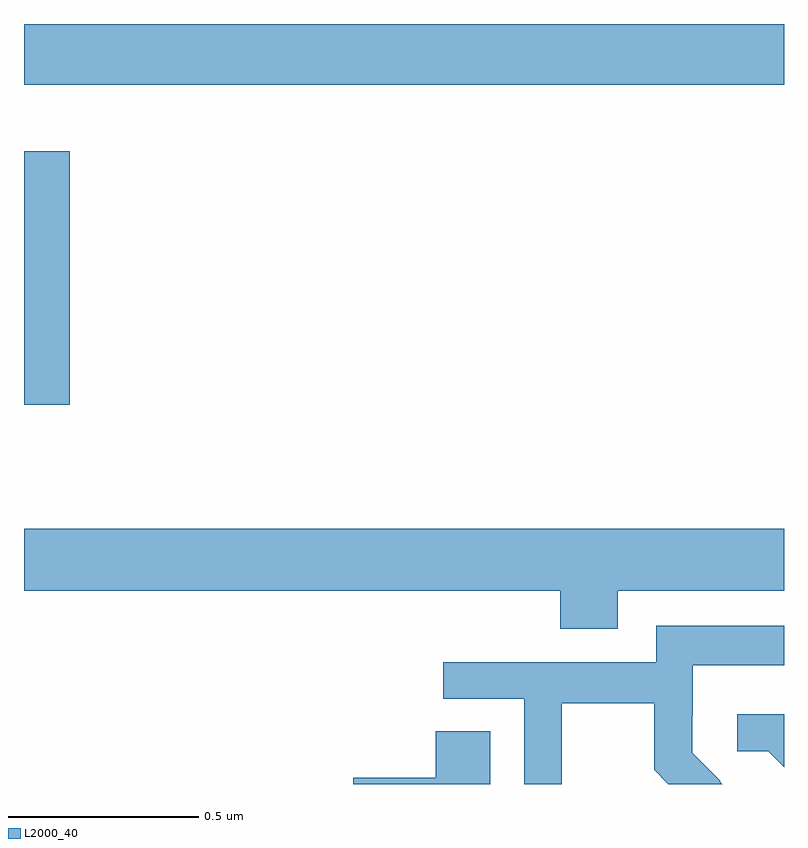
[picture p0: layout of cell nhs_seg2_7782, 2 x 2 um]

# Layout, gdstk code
import gdstk
lib = gdstk.Library(unit=1e-6, precision=1e-09)
def R(c, l, rs):  # rectangles x0, y0, x1, y1
    for r in rs: c.add(gdstk.rectangle(r[:2], r[2:], *l))
def P(c, l, *ps):  # polygons
    for p in ps: c.add(gdstk.Polygon(p, *l))
L2000_40 = (2000, 40)

nhs_seg2_7782 = lib.new_cell('nhs_seg2_7782')
R(nhs_seg2_7782, L2000_40, [(208,642.798,208.121,643.465), (208,643.64,210,643.8)])
P(nhs_seg2_7782, L2000_40, [(209.563,642.308),(210,642.308),(210,642.472),(208,642.472),(208,642.308),(209.411,642.308),(209.411,642.209),(209.563,642.209)],
  [(209.415,642.012),(209.659,642.012),(209.659,641.837),(209.696,641.8),(209.838,641.8),(209.831,641.807),(209.832,641.808),(209.758,641.882),(209.758,641.979),(209.76,641.979),(209.76,642.113),(210,642.113),(210,642.217),(209.664,642.217),(209.664,642.12),(209.103,642.12),(209.103,642.024),(209.316,642.024),(209.316,641.8),(209.415,641.8)],
  [(210,641.983),(209.877,641.983),(209.877,641.886),(209.958,641.886),(210,641.844)],
  [(209.227,641.939),(209.084,641.939),(209.084,641.816),(208.866,641.816),(208.866,641.8),(209.227,641.8)])

lib.write_gds('nhs_seg2_7782.gds')
